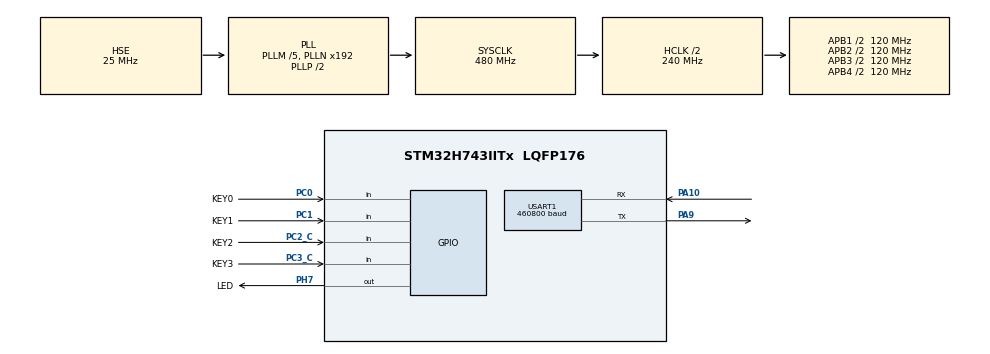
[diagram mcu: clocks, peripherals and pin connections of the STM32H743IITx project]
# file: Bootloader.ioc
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CORTEX_M7.CPU_DCache=Enabled
CORTEX_M7.CPU_ICache=Enabled
CORTEX_M7.default_mode_Activation=1
CRC.InputDataFormat=CRC_INPUTDATA_FORMAT_WORDS
Dma.Request0=USART1_RX
Dma.Request1=USART1_TX
Dma.USART1_RX.0.Direction=DMA_PERIPH_TO_MEMORY
Dma.USART1_RX.0.EventEnable=DISABLE
Dma.USART1_RX.0.FIFOMode=DMA_FIFOMODE_DISABLE
Dma.USART1_RX.0.Instance=DMA1_Stream0
Dma.USART1_RX.0.MemDataAlignment=DMA_MDATAALIGN_BYTE
Dma.USART1_RX.0.MemInc=DMA_MINC_ENABLE
Dma.USART1_RX.0.Mode=DMA_CIRCULAR
Dma.USART1_RX.0.PeriphDataAlignment=DMA_PDATAALIGN_BYTE
Dma.USART1_RX.0.PeriphInc=DMA_PINC_DISABLE
Dma.USART1_RX.0.Polarity=HAL_DMAMUX_REQ_GEN_RISING
Dma.USART1_RX.0.Priority=DMA_PRIORITY_LOW
Dma.USART1_RX.0.RequestNumber=1
Dma.USART1_RX.0.SignalID=NONE
Dma.USART1_RX.0.SyncEnable=DISABLE
Dma.USART1_RX.0.SyncPolarity=HAL_DMAMUX_SYNC_NO_EVENT
Dma.USART1_RX.0.SyncRequestNumber=1
Dma.USART1_RX.0.SyncSignalID=NONE
Dma.USART1_TX.1.Direction=DMA_MEMORY_TO_PERIPH
Dma.USART1_TX.1.EventEnable=DISABLE
Dma.USART1_TX.1.FIFOMode=DMA_FIFOMODE_DISABLE
Dma.USART1_TX.1.Instance=DMA1_Stream1
Dma.USART1_TX.1.MemDataAlignment=DMA_MDATAALIGN_BYTE
Dma.USART1_TX.1.MemInc=DMA_MINC_ENABLE
Dma.USART1_TX.1.Mode=DMA_NORMAL
Dma.USART1_TX.1.PeriphDataAlignment=DMA_PDATAALIGN_BYTE
Dma.USART1_TX.1.PeriphInc=DMA_PINC_DISABLE
Dma.USART1_TX.1.Polarity=HAL_DMAMUX_REQ_GEN_RISING
Dma.USART1_TX.1.Priority=DMA_PRIORITY_LOW
Dma.USART1_TX.1.RequestNumber=1
Dma.USART1_TX.1.SignalID=NONE
Dma.USART1_TX.1.SyncEnable=DISABLE
Dma.USART1_TX.1.SyncPolarity=HAL_DMAMUX_SYNC_NO_EVENT
Dma.USART1_TX.1.SyncRequestNumber=1
Dma.USART1_TX.1.SyncSignalID=NONE
Mcu.Family=STM32H7
Mcu.Name=STM32H743IITx
Mcu.Package=LQFP176
NVIC.DMA1_Stream0_IRQn=true\:0\:0\:false\:false\:true\:false\:true\:true
NVIC.DMA1_Stream1_IRQn=true\:0\:0\:false\:false\:true\:false\:true\:true
NVIC.PriorityGroup=NVIC_PRIORITYGROUP_4
NVIC.TIM5_IRQn=true\:0\:0\:false\:false\:true\:true\:true\:true
NVIC.USART1_IRQn=true\:0\:0\:false\:false\:true\:true\:true\:true
PA10.Mode=Asynchronous
PA10.Signal=USART1_RX
PA9.Mode=Asynchronous
PA9.Signal=USART1_TX
PC0.GPIO_Label=KEY0
PC0.GPIO_PuPd=GPIO_PULLUP
PC0.Signal=GPIO_Input
PC1.GPIO_Label=KEY1
PC1.GPIO_PuPd=GPIO_PULLUP
PC1.Signal=GPIO_Input
PC2_C.GPIO_Label=KEY2
PC2_C.GPIO_PuPd=GPIO_PULLUP
PC2_C.Signal=GPIO_Input
PC3_C.GPIO_Label=KEY3
PC3_C.GPIO_PuPd=GPIO_PULLUP
PC3_C.Signal=GPIO_Input
PH0-OSC_IN\ (PH0).Mode=HSE-External-Oscillator
PH0-OSC_IN\ (PH0).Signal=RCC_OSC_IN
PH1-OSC_OUT\ (PH1).Mode=HSE-External-Oscillator
PH1-OSC_OUT\ (PH1).Signal=RCC_OSC_OUT
PH7.GPIO_Label=LED
PH7.GPIO_PuPd=GPIO_PULLUP
PH7.PinState=GPIO_PIN_SET
PH7.Signal=GPIO_Output
ProjectManager.HeapSize=0x200
ProjectManager.StackSize=0x400
ProjectManager.TargetToolchain=MDK-ARM V5.32
RCC.ADCFreq_Value=50390625
RCC.APB1Freq_Value=120000000
RCC.APB2Freq_Value=120000000
RCC.APB3Freq_Value=120000000
RCC.APB4Freq_Value=120000000
RCC.CortexFreq_Value=480000000
RCC.D1PPRE=RCC_APB3_DIV2
RCC.D2PPRE1=RCC_APB1_DIV2
RCC.D2PPRE2=RCC_APB2_DIV2
RCC.D3PPRE=RCC_APB4_DIV2
RCC.DIVM1=5
RCC.DIVN1=192
RCC.HCLKFreq_Value=240000000
RCC.HPRE=RCC_HCLK_DIV2
RCC.PLL2FRACN=0
RCC.PLL3FRACN=0
RCC.PLLFRACN=0
RCC.PLLSourceVirtual=RCC_PLLSOURCE_HSE
RCC.SYSCLKFreq_VALUE=480000000
RCC.SYSCLKSource=RCC_SYSCLKSOURCE_PLLCLK
RCC.USBFreq_Value=480000000
TIM5.Period=1000-1
TIM5.Prescaler=240-1
USART1.BaudRate=460800
USART1.VirtualMode-Asynchronous=VM_ASYNC
VP_CRC_VS_CRC.Mode=CRC_Activate
VP_MEMORYMAP_VS_MEMORYMAP.Mode=CurAppReg
VP_TIM5_VS_ClockSourceINT.Mode=Internal
board=custom

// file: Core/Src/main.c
/* USER CODE BEGIN Header */
/**
  ******************************************************************************
  * @file           : main.c
  * @brief          : Main program body
  ******************************************************************************
  * @attention
  *
  * Copyright (c) 2026 STMicroelectronics.
  * All rights reserved.
  *
  * This software is licensed under terms that can be found in the LICENSE file
  * in the root directory of this software component.
  * If no LICENSE file comes with this software, it is provided AS-IS.
  *
  ******************************************************************************
  */
/* USER CODE END Header */
#include "main.h"
#include "crc.h"
#include "dma.h"
#include "memorymap.h"
#include "tim.h"
#include "usart.h"
#include "gpio.h"

/* USER CODE BEGIN Includes */
#include <string.h>
#include "bl_memmap.h"
#include "bl_log.h"
#include "boot_core.h"
#include "boot_image.h"
#include "boot_swap.h"
#include "key.h"
#include "lwrb.h"
#include "iap_upgrade.h"
/* USER CODE END Includes */

/* USER CODE BEGIN PV */
/*
 * 跨软复位保持的变量 (zero_init)
 * 放置在 DTCM RAM 固定地址，软复位后不会被清零
 */
uint32_t g_JumpInit __attribute__((at(0x20000000), zero_init));          /* 跳转标志 */
uint32_t g_iwdg_reset_count __attribute__((at(0x20000004), zero_init));  /* 连续 IWDG 复位计数 */
__attribute__((aligned(32))) static uint8_t dma_rx_buf[256];
static uint8_t rb_buf[2048];
lwrb_t uart_rb;
static uint16_t old_pos = 0;
/* UART DMA → lwrb 溢出统计 (volatile 允许在中断里累加) */
static volatile uint32_t s_uart_overflow_count = 0;

/* USER CODE END PV */

void SystemClock_Config(void);
static void MPU_Config(void);
/* USER CODE BEGIN PFP */
static inline void dcache_invalidate(void* addr, uint32_t len)
{
    /* STM32H7 开启 D-Cache 后，DMA 写入的 RX 缓冲区需要先失效缓存，
       否则 CPU 可能继续读到旧缓存数据，导致串口流解析错位。 */
    uint32_t a = (uint32_t)addr;
    uint32_t start = a & ~31U;
    uint32_t end = (a + len + 31U) & ~31U;
    SCB_InvalidateDCache_by_Addr((uint32_t*)start, end - start);
}
void UartDmaRx_ResetPos(void)
{
    /* 升级前会清空环形缓冲，但 DMA 仍在环形模式持续搬运。
       这里把 old_pos 同步到 DMA 当前写指针，避免把旧数据再搬一次。 */
    uint16_t pos = (uint16_t)(sizeof(dma_rx_buf) - __HAL_DMA_GET_COUNTER(huart1.hdmarx));
    old_pos = pos;
}
/* USER CODE END PFP */

int main(void)
{

  /* USER CODE BEGIN 1 */
  /* 如果上一次请求进入系统 ROM Bootloader，这里在任何外设初始化前直接跳转，
     避免当前 Bootloader 的外设状态干扰 ROM DFU。 */
  if(g_JumpInit == BL_DFU_MAGIC){
    g_JumpInit = 0;
    Boot_JumpToBootloader();
  }
  /* IWDG 连续复位表示 App 可能启动即崩溃，累计到阈值后强制留在 Bootloader。 */
  if(__HAL_RCC_GET_FLAG(RCC_FLAG_IWDG1RST)!=RESET){
      /* IWDG 复位：累加计数器，阈值前清 g_JumpInit 走正常决策（attempt++），
       * 达到阈值说明 App 反复跑飞，强制进 DFU 避免死循环 */
      __HAL_RCC_CLEAR_RESET_FLAGS();
      g_iwdg_reset_count++;
      if (g_iwdg_reset_count >= IWDG_LOCKOUT_THRESHOLD) {
          g_iwdg_reset_count = 0;         /* 消费信号，避免下次再进 */
          g_JumpInit = BL_IWDG_LOCKOUT_MAGIC;  /* 在 Boot_SelectAndJump 中被识别 */
      } else {
          g_JumpInit = 0;
      }
  }
  /* 软复位后检测：如果已选好镜像，直接跳转（此时外设未初始化，状态干净）*/
  if (Boot_ShouldJump()) Boot_JumpToApp();

  /* USER CODE END 1 */

  /* MPU Configuration--------------------------------------------------------*/
  MPU_Config();

  /* Enable the CPU Cache */

  /* Enable I-Cache---------------------------------------------------------*/
  SCB_EnableICache();

  /* Enable D-Cache---------------------------------------------------------*/
  SCB_EnableDCache();

  /* MCU Configuration--------------------------------------------------------*/

  /* Reset of all peripherals, Initializes the Flash interface and the Systick. */
  HAL_Init();

  /* Configure the system clock */
  SystemClock_Config();

  /* Initialize all configured peripherals */
  MX_GPIO_Init();
  MX_DMA_Init();
  MX_USART1_UART_Init();
  MX_CRC_Init();
  MX_TIM5_Init();
  /* USER CODE BEGIN 2 */

  BL_LOG("===================================================================================================================================================================================\r\n");
  BL_LOG("                                                                                                                                                                                   \r\n");
  BL_LOG("                                                                                                                                   dddddddd                                        \r\n");
  BL_LOG("BBBBBBBBBBBBBBBBB                                              tttt          lllllll                                               d::::::d                                        \r\n");
  BL_LOG("B::::::::::::::::B                                          ttt:::t          l:::::l                                               d::::::d                                        \r\n");
  BL_LOG("B::::::BBBBBB:::::B                                         t:::::t          l:::::l                                               d::::::d                                        \r\n");
  BL_LOG("BB:::::B     B:::::B                                        t:::::t          l:::::l                                               d:::::d                                         \r\n");
  BL_LOG("  B::::B     B:::::B   ooooooooooo      ooooooooooo   ttttttt:::::ttttttt     l::::l    ooooooooooo     aaaaaaaaaaaaa      ddddddddd:::::d     eeeeeeeeeeee    rrrrr   rrrrrrrrr   \r\n");
  BL_LOG("  B::::B     B:::::B oo:::::::::::oo  oo:::::::::::oo t:::::::::::::::::t     l::::l  oo:::::::::::oo   a::::::::::::a   dd::::::::::::::d   ee::::::::::::ee  r::::rrr:::::::::r  \r\n");
  BL_LOG("  B::::BBBBBB:::::B o:::::::::::::::oo:::::::::::::::ot:::::::::::::::::t     l::::l o:::::::::::::::o  aaaaaaaaa:::::a d::::::::::::::::d  e::::::eeeee:::::eer:::::::::::::::::r \r\n");
  BL_LOG("  B:::::::::::::BB  o:::::ooooo:::::oo:::::ooooo:::::otttttt:::::::tttttt     l::::l o:::::ooooo:::::o           a::::ad:::::::ddddd:::::d e::::::e     e:::::err::::::rrrrr::::::r\r\n");
  BL_LOG("  B::::BBBBBB:::::B o::::o     o::::oo::::o     o::::o      t:::::t           l::::l o::::o     o::::o    aaaaaaa:::::ad::::::d    d:::::d e:::::::eeeee::::::e r:::::r     r:::::r\r\n");
  BL_LOG("  B::::B     B:::::Bo::::o     o::::oo::::o     o::::o      t:::::t           l::::l o::::o     o::::o  aa::::::::::::ad:::::d     d:::::d e:::::::::::::::::e  r:::::r     rrrrrrr\r\n");
  BL_LOG("  B::::B     B:::::Bo::::o     o::::oo::::o     o::::o      t:::::t           l::::l o::::o     o::::oa::::aaaa::::::ad:::::d     d:::::d e::::::eeeeeeeeeee   r:::::r             \r\n");
  BL_LOG("  B::::B     B:::::Bo::::o     o::::oo::::o     o::::o      t:::::t    tttttt l::::l o::::o     o::::oa::::a    a:::::ad:::::d     d:::::d e:::::::e            r:::::r            \r\n");
  BL_LOG("BB:::::BBBBBB::::::Bo:::::ooooo:::::oo:::::ooooo:::::o      t::::::tttt:::::tl::::::lo:::::ooooo:::::oa::::a    a:::::ad::::::ddddd::::::dde::::::::e           r:::::r            \r\n");
  BL_LOG("B:::::::::::::::::B o:::::::::::::::oo:::::::::::::::o      tt::::::::::::::tl::::::lo:::::::::::::::oa:::::aaaa::::::a d:::::::::::::::::d e::::::::eeeeeeee   r:::::r            \r\n");
  BL_LOG("B::::::::::::::::B   oo:::::::::::oo  oo:::::::::::oo         tt:::::::::::ttl::::::l oo:::::::::::oo  a::::::::::aa:::a d:::::::::ddd::::d  ee:::::::::::::e   r:::::r            \r\n");
  BL_LOG("BBBBBBBBBBBBBBBBB      ooooooooooo      ooooooooooo             ttttttttttt  llllllll   ooooooooooo     aaaaaaaaaa  aaaa  ddddddddd   ddddd    eeeeeeeeeeeeee   rrrrrrr            \r\n");
  BL_LOG("                                                                                                                                                                                   \r\n");
  BL_LOG("===================================================================================================================================================================================\r\n");
  /* 先启动串口 DMA 和按键，再进入镜像选择流程。
     这样即使没有可启动镜像，DFU 菜单也能立即收按键和串口升级命令。 */
  HAL_TIM_Base_Start_IT(&htim5);
  lwrb_init(&uart_rb, rb_buf, sizeof(rb_buf));
  HAL_UARTEx_ReceiveToIdle_DMA(&huart1, dma_rx_buf, sizeof(dma_rx_buf));
  Key_Init();
  Boot_SelectAndJump();  // 选择镜像并跳转，不会返回

  /* USER CODE END 2 */

  /* Infinite loop */
  /* USER CODE BEGIN WHILE */
  while (1)
  {
    uint8_t ch_byte;
    /* 主循环只保留一个最小串口入口：收到 'U' 后走 YMODEM 升级。
       正常启动路径已在 Boot_SelectAndJump() 内完成，不会回到这里。 */
    if (lwrb_read(&uart_rb, &ch_byte, 1) == 1) {
        if (ch_byte == 'U') {
          /* 升级前上报溢出计数，帮助定位波特率/缓冲问题 */
          if (s_uart_overflow_count > 0) {
              BL_LOG("[UART] Pre-upgrade overflow: %lu bytes dropped\r\n",
                     (unsigned long)s_uart_overflow_count);
              s_uart_overflow_count = 0;
          }
          /* 擦除 inactive slot */
          if (IAP_EraseSlot() != 0) {
              BL_LOG("Failed to erase slot!\r\n");
          }
          lwrb_reset(&uart_rb);
          UartDmaRx_ResetPos();
          int result = IAP_UpgradeViaYmodem(&uart_rb, 2000);
          /* 升级结束后再报告一次溢出（YMODEM 期间的） */
          if (s_uart_overflow_count > 0) {
              BL_LOG("[UART] In-upgrade overflow: %lu bytes dropped\r\n",
                     (unsigned long)s_uart_overflow_count);
              s_uart_overflow_count = 0;
          }
          if (result == 0) {
            g_JumpInit = 0;
            NVIC_SystemReset();
            }
        }
    }
    /* USER CODE END WHILE */

  }
}

void SystemClock_Config(void)
{
  RCC_OscInitTypeDef RCC_OscInitStruct = {0};
  RCC_ClkInitTypeDef RCC_ClkInitStruct = {0};

  /** Supply configuration update enable
  */
  HAL_PWREx_ConfigSupply(PWR_LDO_SUPPLY);

  /** Configure the main internal regulator output voltage
  */
  __HAL_PWR_VOLTAGESCALING_CONFIG(PWR_REGULATOR_VOLTAGE_SCALE0);

  while(!__HAL_PWR_GET_FLAG(PWR_FLAG_VOSRDY)) {}

  /** Initializes the RCC Oscillators according to the specified parameters
  * in the RCC_OscInitTypeDef structure.
  */
  RCC_OscInitStruct.OscillatorType = RCC_OSCILLATORTYPE_HSE;
  RCC_OscInitStruct.HSEState = RCC_HSE_ON;
  RCC_OscInitStruct.PLL.PLLState = RCC_PLL_ON;
  RCC_OscInitStruct.PLL.PLLSource = RCC_PLLSOURCE_HSE;
  RCC_OscInitStruct.PLL.PLLM = 5;
  RCC_OscInitStruct.PLL.PLLN = 192;
  RCC_OscInitStruct.PLL.PLLP = 2;
  RCC_OscInitStruct.PLL.PLLQ = 2;
  RCC_OscInitStruct.PLL.PLLR = 2;
  RCC_OscInitStruct.PLL.PLLRGE = RCC_PLL1VCIRANGE_2;
  RCC_OscInitStruct.PLL.PLLVCOSEL = RCC_PLL1VCOWIDE;
  RCC_OscInitStruct.PLL.PLLFRACN = 0;
  if (HAL_RCC_OscConfig(&RCC_OscInitStruct) != HAL_OK)
  {
    Error_Handler();
  }

  /** Initializes the CPU, AHB and APB buses clocks
  */
  RCC_ClkInitStruct.ClockType = RCC_CLOCKTYPE_HCLK|RCC_CLOCKTYPE_SYSCLK
                              |RCC_CLOCKTYPE_PCLK1|RCC_CLOCKTYPE_PCLK2
                              |RCC_CLOCKTYPE_D3PCLK1|RCC_CLOCKTYPE_D1PCLK1;
  RCC_ClkInitStruct.SYSCLKSource = RCC_SYSCLKSOURCE_PLLCLK;
  RCC_ClkInitStruct.SYSCLKDivider = RCC_SYSCLK_DIV1;
  RCC_ClkInitStruct.AHBCLKDivider = RCC_HCLK_DIV2;
  RCC_ClkInitStruct.APB3CLKDivider = RCC_APB3_DIV2;
  RCC_ClkInitStruct.APB1CLKDivider = RCC_APB1_DIV2;
  RCC_ClkInitStruct.APB2CLKDivider = RCC_APB2_DIV2;
  RCC_ClkInitStruct.APB4CLKDivider = RCC_APB4_DIV2;

  if (HAL_RCC_ClockConfig(&RCC_ClkInitStruct, FLASH_LATENCY_4) != HAL_OK)
  {
    Error_Handler();
  }
}

/* USER CODE BEGIN 4 */
/*--- UART 空闲中断回调 ---*/
void HAL_UARTEx_RxEventCallback(UART_HandleTypeDef *huart, uint16_t Size)
{
    if (huart->Instance != USART1) return;

    /* 不直接相信 HAL 传入的 Size，而是重新读取 DMA 剩余计数。
       这样无论回调由 IDLE/半传输/满传输哪个事件触发，都能按“DMA 当前写到哪”
       这一唯一事实把增量数据搬进环形缓冲。 */
    uint16_t pos = (uint16_t)(sizeof(dma_rx_buf) - __HAL_DMA_GET_COUNTER(huart->hdmarx));
    dcache_invalidate(dma_rx_buf, sizeof(dma_rx_buf));
    if (pos != old_pos) {
        /* lwrb_write 返回实际写入字节数；若小于请求值，说明环形缓冲满，累加溢出计数 */
        size_t req, wrote;
        if (pos > old_pos) {
            /* DMA 写指针尚未回卷，直接搬运 old_pos..pos 区间。 */
            req   = pos - old_pos;
            wrote = lwrb_write(&uart_rb, &dma_rx_buf[old_pos], req);
            if (wrote < req) s_uart_overflow_count += (uint32_t)(req - wrote);
        } else {
            /* DMA 已回卷，先搬运 old_pos..buf_end，再搬运 0..pos。 */
            req   = sizeof(dma_rx_buf) - old_pos;
            wrote = lwrb_write(&uart_rb, &dma_rx_buf[old_pos], req);
            if (wrote < req) s_uart_overflow_count += (uint32_t)(req - wrote);
            if (pos > 0) {
                req   = pos;
                wrote = lwrb_write(&uart_rb, &dma_rx_buf[0], req);
                if (wrote < req) s_uart_overflow_count += (uint32_t)(req - wrote);
            }
        }
        old_pos = pos;
    }
}
/* USER CODE END 4 */

 /* MPU Configuration */

void MPU_Config(void)
{
  MPU_Region_InitTypeDef MPU_InitStruct = {0};

  /* Disables the MPU */
  HAL_MPU_Disable();

  /** Initializes and configures the Region and the memory to be protected
  */
  MPU_InitStruct.Enable = MPU_REGION_ENABLE;
  MPU_InitStruct.Number = MPU_REGION_NUMBER0;
  MPU_InitStruct.BaseAddress = 0x0;
  MPU_InitStruct.Size = MPU_REGION_SIZE_4GB;
  MPU_InitStruct.SubRegionDisable = 0x87;
  MPU_InitStruct.TypeExtField = MPU_TEX_LEVEL0;
  MPU_InitStruct.AccessPermission = MPU_REGION_NO_ACCESS;
  MPU_InitStruct.DisableExec = MPU_INSTRUCTION_ACCESS_DISABLE;
  MPU_InitStruct.IsShareable = MPU_ACCESS_SHAREABLE;
  MPU_InitStruct.IsCacheable = MPU_ACCESS_NOT_CACHEABLE;
  MPU_InitStruct.IsBufferable = MPU_ACCESS_NOT_BUFFERABLE;

  HAL_MPU_ConfigRegion(&MPU_InitStruct);
  /* Enables the MPU */
  HAL_MPU_Enable(MPU_PRIVILEGED_DEFAULT);

}

void Error_Handler(void)
{
  __disable_irq();
  while (1)
  {
  }
}
